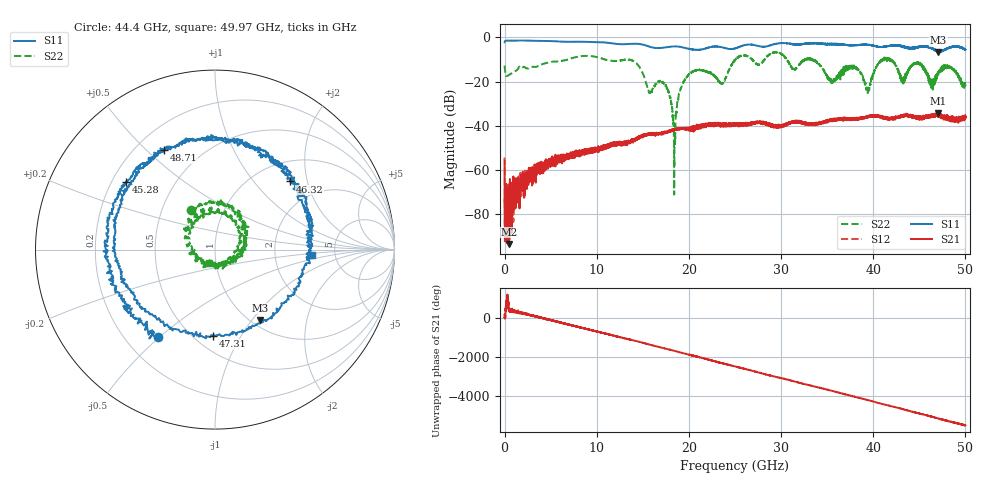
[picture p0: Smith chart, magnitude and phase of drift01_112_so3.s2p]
!Created with skrf (http://scikit-rf.org).
# Hz S RI R 50.0
!freq ReS11 ImS11 ReS21 ImS21 ReS12 ImS12 ReS22 ImS22
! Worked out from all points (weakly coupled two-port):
!   10001 points, 300 kHz to 50 GHz, reference 50 ohm
!   highest |S21| = -34.33 dB at 47.01 GHz (marker M1); lowest = -93.8 dB at 440.3 MHz (marker M2)
!   lowest |S11| = -6.7 dB at 47.08 GHz (marker M3), VSWR 2.74, Z = 54.8 - j54.8 ohm
!   |S11| at or under -10 dB: nowhere
!   |S22| runs from -71.3 to -6.6 dB; largest |S21 - S12| = 0.0041
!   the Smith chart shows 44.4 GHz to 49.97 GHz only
!   S11 on the Smith chart (normalised r, x): 44.4 GHz: 0.33, -0.50; 45.28 GHz: 0.26, +0.32; 46.32 GHz: 1.41, +1.58; 47.31 GHz: 0.61, -0.76; 48.71 GHz: 0.31, +0.57; 49.97 GHz: 3.34, -0.31
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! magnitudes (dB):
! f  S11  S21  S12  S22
! 300 kHz  -2.1  -55.9  -54.5  -12.8
! 440.3 MHz  -1.4  -93.8  -73.8  -17.1
! 8.335 GHz  -1.9  -52.0  -52.1  -8.5
! 16.67 GHz  -4.8  -43.6  -43.9  -20.0
! 17.74 GHz  -4.3  -42.6  -42.8  -24.2
! 18.44 GHz  -4.1  -41.7  -41.7  -49.3
! 19.91 GHz  -5.1  -41.4  -41.8  -17.1
! 23.61 GHz  -4.5  -39.4  -39.6  -20.6
! 25 GHz  -5.0  -39.2  -39.8  -10.2
! 33.34 GHz  -2.6  -39.8  -39.4  -10.0
! 39.45 GHz  -3.3  -35.6  -35.9  -23.7
! 41.67 GHz  -3.9  -36.8  -36.6  -9.8
! 43.19 GHz  -4.1  -35.6  -35.7  -19.0
! 44.4 GHz  -4.7  -36.1  -35.9  -11.8
! 45.28 GHz  -4.1  -35.8  -36.0  -12.8
! 46.32 GHz  -4.9  -35.5  -35.6  -19.5
! 47.01 GHz  -6.2  -34.3  -35.3  -16.0
! 47.08 GHz  -6.7  -35.5  -35.0  -16.4
! 47.31 GHz  -6.4  -35.9  -35.6  -15.1
! 48.71 GHz  -4.1  -36.2  -36.9  -14.6
! 49.97 GHz  -5.3  -36.1  -35.9  -21.6
! 50 GHz  -5.6  -36.3  -37.0  -21.5
